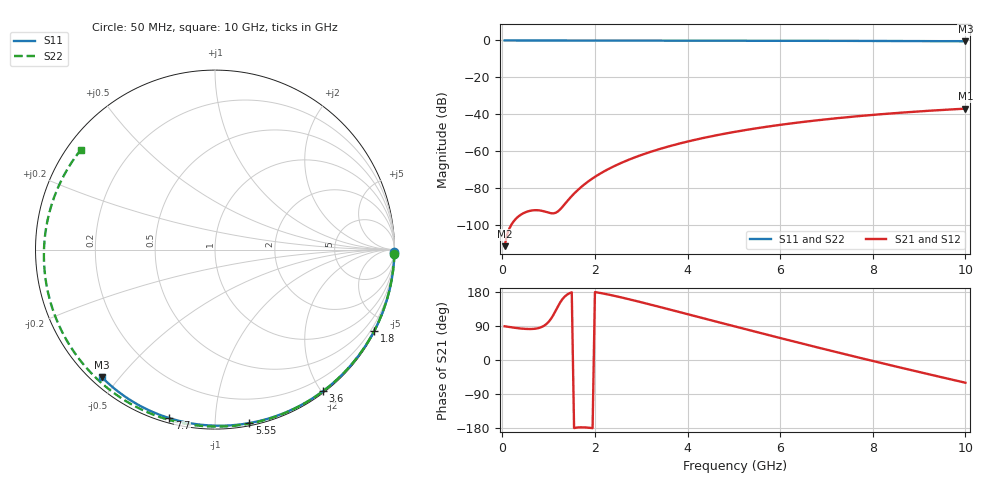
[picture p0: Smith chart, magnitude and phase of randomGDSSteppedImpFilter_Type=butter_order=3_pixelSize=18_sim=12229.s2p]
! freq	dB(S11)	phase(S11)	dB(S12)	phase(S12)
!  dB(S21)	phase(S21)	dB(S22)	phase(S22)
!S-par simulation data
#  GHz  S  DB  R 50
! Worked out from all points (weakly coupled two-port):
!   200 points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, 50 MHz to 10 GHz, reference 50 ohm
!   highest |S21| = -36.94 dB at 10 GHz (marker M1); lowest = -111.4 dB at 50 MHz (marker M2)
!   lowest |S11| = -0.4 dB at 10 GHz (marker M3), VSWR 38.98, Z = 1.54 - j22.4 ohm
!   |S11| at or under -10 dB: nowhere
!   |S22| runs from -0.6 to 0.0 dB; largest |S21 - S12| = 0
!   S11 on the Smith chart (normalised r, x): 50 MHz: open; 1.8 GHz: 0.04, -4.17; 3.6 GHz: 0.02, -2.02; 5.55 GHz: 0.02, -1.22; 7.7 GHz: 0.02, -0.76; 10 GHz: 0.03, -0.45
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0.05  -0.00 -0.8  -111.44 89.0  -111.44 89.0  -0.00 -1.3
0.4  -0.01 -6.1  -94.38 83.1  -94.38 83.1  -0.01 -10.2
0.8  -0.02 -12.1  -92.05 84.9  -92.05 84.9  -0.03 -20.3
1.2  -0.02 -18.1  -92.63 141.3  -92.63 141.3  -0.04 -30.4
1.65  -0.03 -24.8  -80.57 -177.9  -80.57 -177.9  -0.05 -41.4
1.75  -0.03 -26.2  -78.42 -177.7  -78.42 -177.7  -0.06 -43.9
1.8  -0.03 -27.0  -77.43 -178.0  -77.43 -178.0  -0.06 -45.1
2.1  -0.04 -31.4  -72.33 177.2  -72.33 177.2  -0.07 -52.3
2.5  -0.05 -37.2  -67.10 167.1  -67.10 167.1  -0.08 -61.7
2.9  -0.06 -42.9  -62.97 155.4  -62.97 155.4  -0.09 -70.8
3.4  -0.07 -50.0  -58.79 140.0  -58.79 140.0  -0.11 -82.0
3.6  -0.07 -52.7  -57.35 133.7  -57.35 133.7  -0.11 -86.4
4.3  -0.09 -62.3  -53.04 111.5  -53.04 111.5  -0.14 -101.3
5.05  -0.11 -72.3  -49.38 87.7  -49.38 87.7  -0.17 -116.7
5.55  -0.13 -78.8  -47.34 72.0  -47.34 72.0  -0.20 -126.6
6.15  -0.15 -86.4  -45.22 53.3  -45.22 53.3  -0.24 -138.4
6.7  -0.18 -93.2  -43.53 36.4  -43.53 36.4  -0.28 -149.1
7.2  -0.21 -99.3  -42.18 21.3  -42.18 21.3  -0.32 -158.8
7.7  -0.24 -105.2  -40.98 6.3  -40.98 6.3  -0.36 -168.6
8.35  -0.29 -112.8  -39.62 -12.8  -39.62 -12.8  -0.43 178.5
9.2  -0.36 -122.6  -38.11 -37.3  -38.11 -37.3  -0.52 160.9
10  -0.45 -131.7  -36.94 -60.0  -36.94 -60.0  -0.61 143.3
